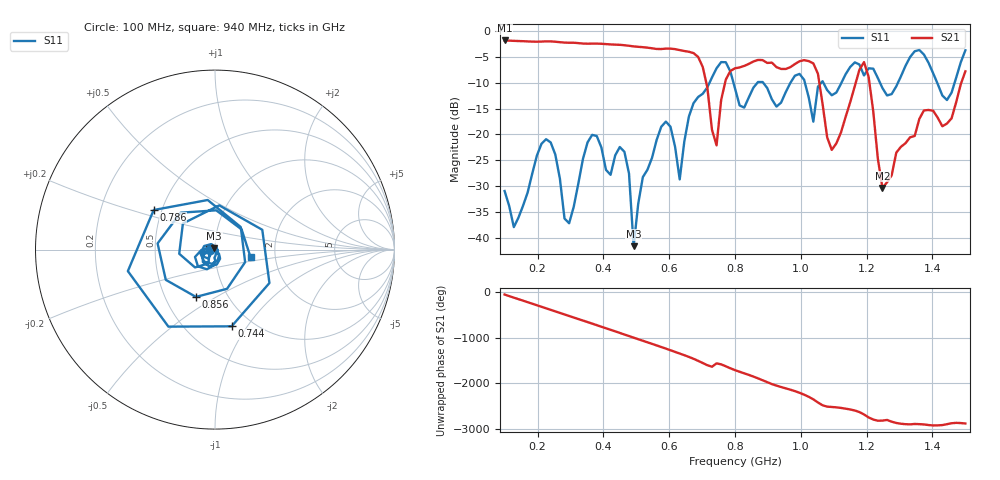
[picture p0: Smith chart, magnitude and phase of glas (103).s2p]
! NanoVNA-App
! Date: 2025-09-25 15:56:16
! Start: 100MHz Stop: 1,5GHz Points: 101
! S-Parameter data: F S11 S21 S12 S22
# Hz S RI R 50
!  Frequency  S11_Real  S11_Imag  S21_Real  S21_Imag  S12_Real  S12_Imag  S22_Real  S22_Imag
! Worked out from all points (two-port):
!   101 points, 100 MHz to 1.5 GHz, reference 50 ohm
!   highest |S21| = -1.80 dB at 100 MHz (marker M1); lowest = -30.4 dB at 1.248 GHz (marker M2)
!   |S21| within 3 dB of the highest: start of sweep to 684.4 MHz
!   lowest |S11| = -41.6 dB at 492 MHz (marker M3), VSWR 1.02, Z = 49.5 + j0.649 ohm
!   |S11| at or under -10 dB: start of sweep to 722.5 MHz; 795.4 MHz to 868 MHz (72.66 MHz wide, 8.74 % of centre); 885.8 MHz to 968.4 MHz (82.62 MHz wide, 8.91 % of centre) (the widest 3 of 7)
!   S12 and S22 are empty: the file has one direction only
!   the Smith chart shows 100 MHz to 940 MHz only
!   S11 on the Smith chart (normalised r, x): 100 MHz: 0.95, -0.01; 744 MHz: 0.80, -0.85; 786 MHz: 0.45, +0.24; 856 MHz: 0.71, -0.41; 940 MHz: 1.49, -0.14
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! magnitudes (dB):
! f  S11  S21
! 100 MHz  -31.0  -1.8
! 128 MHz  -38.0  -1.9
! 226 MHz  -20.9  -2.0
! 296 MHz  -37.2  -2.2
! 338 MHz  -24.7  -2.4
! 464 MHz  -23.4  -2.7
! 492 MHz  -41.6  -2.9
! 576 MHz  -18.5  -3.5
! 632 MHz  -28.7  -3.7
! 702 MHz  -12.1  -6.9
! 744 MHz  -7.2  -22.1
! 786 MHz  -7.8  -7.7
! 800 MHz  -11.1  -7.2
! 856 MHz  -10.9  -5.9
! 940 MHz  -13.8  -7.3
! 996 MHz  -8.3  -5.8
! 1.038 GHz  -17.5  -6.2
! 1.094 GHz  -12.4  -23.0
! 1.192 GHz  -8.6  -6.0
! 1.248 GHz  -11.0  -30.4
! 1.276 GHz  -12.2  -27.9
! 1.5 GHz  -3.7  -7.8
